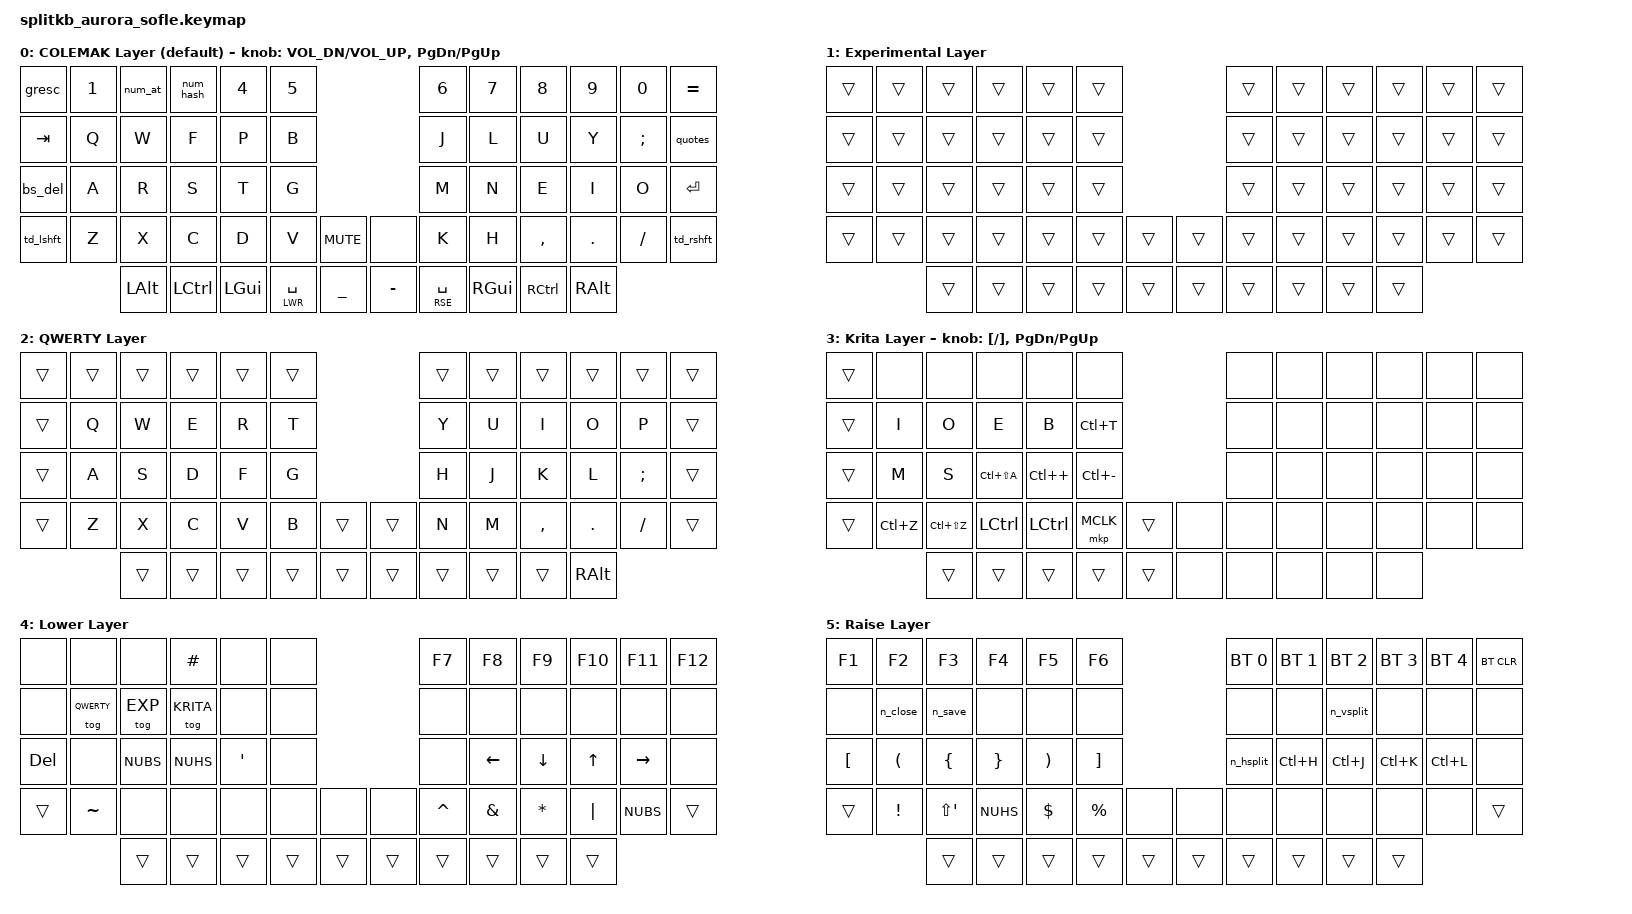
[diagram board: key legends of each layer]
/*
 * Copyright (c) 2023 The ZMK Contributors
 *
 * SPDX-License-Identifier: MIT
 */

#include <behaviors.dtsi>
#include <dt-bindings/zmk/keys.h>
#include <dt-bindings/zmk/bt.h>
#include <dt-bindings/zmk/ext_power.h>
#include <dt-bindings/zmk/pointing.h>

/* Layer definitions */
#define EXP 1
#define QWERTY 2
#define KRITA 3
#define LWR  4
#define RSE  5

#define XXX &none
#define ___ &trans

#define SPC_LWR &lt LWR SPACE
#define SPC_RSE &lt RSE SPACE

&lt {
    flavor = "balanced";
    tapping-term-ms = <190>; /* time until a pressed key is considered a hold */
    quick-tap-ms = <175>; /* repeats within this time will always yield a tap */
    //require-prior-idle-ms = <150>; /* always yield a tap if the last keypress was under this time */
};

/* Krita keybinds */
#define PICKER &kp LCTRL
#define ERASER &kp E
#define BRUSH &kp B
#define TRNSFRM &kp LC(T)
#define DESELECT &kp LC(LS(A))
#define LASSO &kp S
#define OPAC_UP &kp O
#define OPAC_DWN &kp I
#define MIRROR &kp M
#define KR_UNDO &kp LC(Z)
#define KR_REDO &kp LC(LS(Z))
#define ZOOM_IN &kp LC(PLUS)
#define ZOOM_OUT &kp LC(MINUS)
#define ROTATE &kp LCTRL
#define PAN &mkp MCLK

/* Bluetooth profile selectors */
#define BT_1 &bt BT_SEL 0
#define BT_2 &bt BT_SEL 1
#define BT_3 &bt BT_SEL 2
#define BT_4 &bt BT_SEL 3
#define BT_5 &bt BT_SEL 4

/ {
    behaviors {
        n_save: n_save {
            compatible = "zmk,behavior-macro";
            #binding-cells = <0>;
            bindings = <&kp COLON>, <&kp W>, <&kp RET>;
        };
        n_close: n_close {
            compatible = "zmk,behavior-macro";
            #binding-cells = <0>;
            bindings = <&kp COLON>, <&kp Q>, <&kp RET>;
        };
        n_hsplit: n_hsplit {
            compatible = "zmk,behavior-macro";
            #binding-cells = <0>;
            bindings = <&kp COLON>, <&kp S>, <&kp P>, <&kp RET>;
        };
        n_vsplit: n_vsplit {
            compatible = "zmk,behavior-macro";
            #binding-cells = <0>;
            bindings = <&kp COLON>, <&kp V>, <&kp S>, <&kp P>, <&kp RET>;
        };
        td_lshft: tap_dance_lshft {
            compatible = "zmk,behavior-tap-dance";
            #binding-cells = <0>;
            tapping-term-ms = <200>;
            bindings = <&kp LSHFT>, <&kp CAPS>;
        };
        td_rshft: tap_dance_rshft {
            compatible = "zmk,behavior-tap-dance";
            #binding-cells = <0>;
            tapping-term-ms = <200>;
            bindings = <&kp RSHFT>, <&kp CAPS>;
        };
        bs_del: backspace_del {
            compatible = "zmk,behavior-mod-morph";
            #binding-cells = <0>;
            bindings = <&kp BACKSPACE>, <&kp DELETE>;
            mods = <(MOD_LSFT|MOD_RSFT)>;
        };
        quotes: combined_quotes {
            compatible = "zmk,behavior-mod-morph";
            #binding-cells = <0>;
            bindings = <&kp SINGLE_QUOTE>, <&kp N2>;
            mods = <(MOD_LSFT|MOD_RSFT)>;
            keep-mods = <(MOD_LSFT|MOD_RSFT)>;
        };
        num_at: number_line_at {
            compatible = "zmk,behavior-mod-morph";
            #binding-cells = <0>;
            bindings = <&kp N2>, <&kp SINGLE_QUOTE>;
            mods = <(MOD_LSFT|MOD_RSFT)>;
            keep-mods = <(MOD_LSFT|MOD_RSFT)>;
        };
        num_hash: number_line_hash {
            compatible = "zmk,behavior-mod-morph";
            #binding-cells = <0>;
            bindings = <&kp N3>, <&kp NUHS>;
            mods = <(MOD_LSFT|MOD_RSFT)>;
        };
    };
};

/ {
    keymap {
        compatible = "zmk,keymap";

        default_layer {
            display-name = "COLEMAK Layer (default)";
            bindings = <
//+---------|---------|---------|---------|---------|---------+                   +---------|---------|---------|---------|---------|---------+
    &gresc    &kp N1    &num_at  &num_hash  &kp N4    &kp N5                        &kp N6    &kp N7    &kp N8    &kp N9    &kp N0   &kp EQUAL
//|---------|---------|---------|---------|---------|---------|                   |---------|---------|---------|---------|---------|---------|
    &kp TAB    &kp Q     &kp W     &kp F     &kp P     &kp B                         &kp J     &kp L     &kp U     &kp Y   &kp SEMI   &quotes
//|---------|---------|---------|---------|---------|---------|                   |---------|---------|---------|---------|---------|---------|
    &bs_del    &kp A     &kp R     &kp S     &kp T     &kp G                         &kp M     &kp N     &kp E     &kp I     &kp O    &kp RET
//|---------|---------|---------|---------|---------|---------|---------+---------|---------|---------|---------|---------|---------|---------|
   &td_lshft   &kp Z     &kp X     &kp C     &kp D     &kp V  &kp C_MUTE    XXX      &kp K     &kp H   &kp COMMA  &kp DOT  &kp FSLH  &td_rshft
//+---------|---------|---------|---------|---------|---------|---------|---------|---------|---------|---------|---------|---------|---------+
                       &kp LALT  &kp LCTRL &kp LGUI   SPC_LWR  &kp UNDER &kp MINUS  SPC_RSE  &kp RGUI  &kp RCTRL &kp RALT
//                    +---------|---------|---------|---------|---------+---------|---------|---------|---------|---------+
            >;
            sensor-bindings = <&inc_dec_kp C_VOL_DN C_VOL_UP &inc_dec_kp PG_DN PG_UP>;
        };

        experimental_layer {
            display-name = "Experimental Layer";
            bindings = <
//+---------|---------|---------|---------|---------|---------+                   +---------|---------|---------|---------|---------|---------+
      ___       ___       ___       ___       ___       ___                           ___       ___       ___       ___       ___       ___
//|---------|---------|---------|---------|---------|---------|                   |---------|---------|---------|---------|---------|---------|
      ___       ___       ___       ___       ___       ___                           ___       ___       ___       ___       ___       ___
//|---------|---------|---------|---------|---------|---------|                   |---------|---------|---------|---------|---------|---------|
      ___       ___       ___       ___       ___       ___                           ___       ___       ___       ___       ___       ___
//|---------|---------|---------|---------|---------|---------|---------+---------|---------|---------|---------|---------|---------|---------|
      ___       ___       ___       ___       ___       ___       ___       ___       ___       ___       ___       ___       ___       ___
//+---------|---------|---------|---------|---------|---------|---------|---------|---------|---------|---------|---------|---------|---------+
                          ___       ___       ___       ___       ___       ___       ___       ___       ___       ___
//                    +---------|---------|---------|---------|---------+---------|---------|---------|---------|---------+
            >;
        };

        qwerty_layer {
            display-name = "QWERTY Layer";
            bindings = <
//+---------|---------|---------|---------|---------|---------+                   +---------|---------|---------|---------|---------|---------+
      ___       ___       ___       ___       ___       ___                           ___       ___       ___       ___       ___       ___
//|---------|---------|---------|---------|---------|---------|                   |---------|---------|---------|---------|---------|---------|
      ___      &kp Q     &kp W     &kp E     &kp R     &kp T                         &kp Y     &kp U     &kp I     &kp O     &kp P     ___
//|---------|---------|---------|---------|---------|---------|                   |---------|---------|---------|---------|---------|---------|
      ___      &kp A     &kp S     &kp D     &kp F     &kp G                         &kp H     &kp J     &kp K     &kp L   &kp SEMI    ___
//|---------|---------|---------|---------|---------|---------|---------+---------|---------|---------|---------|---------|---------|---------|
      ___      &kp Z     &kp X     &kp C     &kp V     &kp B      ___       ___      &kp N     &kp M   &kp COMMA  &kp DOT  &kp FSLH    ___
//+---------|---------|---------|---------|---------|---------|---------|---------|---------|---------|---------|---------|---------|---------+
                          ___       ___       ___       ___       ___       ___       ___       ___       ___    &kp RALT
//                    +---------|---------|---------|---------|---------+---------|---------|---------|---------|---------+
            >;
        };

        krita_layer {
            display-name = "Krita Layer";
            bindings = <
//+---------|---------|---------|---------|---------|---------+                   +---------|---------|---------|---------|---------|---------+
      ___       XXX       XXX       XXX       XXX       XXX                           XXX       XXX       XXX       XXX       XXX       XXX
//|---------|---------|---------|---------|---------|---------|                   |---------|---------|---------|---------|---------|---------|
      ___    OPAC_DWN   OPAC_UP   ERASER     BRUSH    TRNSFRM                         XXX       XXX       XXX       XXX       XXX       XXX
//|---------|---------|---------|---------|---------|---------|                   |---------|---------|---------|---------|---------|---------|
      ___     MIRROR     LASSO   DESELECT   ZOOM_IN  ZOOM_OUT                         XXX       XXX       XXX       XXX       XXX       XXX
//|---------|---------|---------|---------|---------|---------|---------+---------|---------|---------|---------|---------|---------|---------|
      ___     KR_UNDO   KR_REDO   PICKER    ROTATE      PAN       ___       XXX       XXX       XXX       XXX       XXX       XXX       XXX
//+---------|---------|---------|---------|---------|---------|---------|---------|---------|---------|---------|---------|---------|---------+
                          ___       ___       ___       ___       ___       XXX       XXX       XXX       XXX       XXX
//                    +---------|---------|---------|---------|---------+---------|---------|---------|---------|---------+
            >;
            sensor-bindings = <&inc_dec_kp LBKT RBKT &inc_dec_kp PG_DN PG_UP>;
        };

        lower_layer {
            display-name = "Lower Layer";
            bindings = <
//+---------|---------|---------|---------|---------|---------+                   +---------|---------|---------|---------|---------|---------+
      XXX       XXX       XXX    &kp HASH     XXX       XXX                          &kp F7    &kp F8    &kp F9   &kp F10   &kp F11   &kp F12
//|---------|---------|---------|---------|---------|---------|                   |---------|---------|---------|---------|---------|---------|
      XXX   &tog QWERTY &tog EXP &tog KRITA   XXX       XXX                           XXX       XXX       XXX       XXX       XXX       XXX
//|---------|---------|---------|---------|---------|---------|                   |---------|---------|---------|---------|---------|---------|
    &kp DEL     XXX    &kp NUBS  &kp NUHS  &kp APOS     XXX                           XXX    &kp LEFT  &kp DOWN   &kp UP   &kp RIGHT    XXX
//|---------|---------|---------|---------|---------|---------|---------+---------|---------|---------|---------|---------|---------|---------|
      ___    &kp TILDE    XXX       XXX       XXX       XXX       XXX       XXX    &kp CARET &kp AMPS  &kp STAR  &kp PIPE  &kp NUBS     ___
//+---------|---------|---------|---------|---------|---------|---------|---------|---------|---------|---------|---------|---------|---------+
                          ___       ___       ___       ___       ___       ___       ___       ___       ___       ___
//                    +---------|---------|---------|---------|---------+---------|---------|---------|---------|---------+
            >;
        };

        raise_layer {
            display-name = "Raise Layer";
            bindings = <
//+---------|---------|---------|---------|---------|---------+                   +---------|---------|---------|---------|---------|---------+
    &kp F1    &kp F2    &kp F3    &kp F4    &kp F5    &kp F6                         BT_1      BT_2      BT_3      BT_4      BT_5   &bt BT_CLR
//|---------|---------|---------|---------|---------|---------|                   |---------|---------|---------|---------|---------|---------|
      XXX    &n_close   &n_save     XXX       XXX       XXX                           XXX       XXX    &n_vsplit    XXX       XXX       XXX
//|---------|---------|---------|---------|---------|---------|                   |---------|---------|---------|---------|---------|---------|
   &kp LBKT  &kp LPAR  &kp LBRC  &kp RBRC  &kp RPAR  &kp RBKT                      &n_hsplit &kp LC(H) &kp LC(J) &kp LC(K) &kp LC(L)    XXX
//|---------|---------|---------|---------|---------|---------|---------+---------|---------|---------|---------|---------|---------|---------|
      ___    &kp EXCL &kp LS(SQT) &kp NUHS &kp DLLR  &kp PRCNT    XXX       XXX       XXX       XXX       XXX       XXX       XXX       ___
//+---------|---------|---------|---------|---------|---------|---------|---------|---------|---------|---------|---------|---------|---------+
                          ___       ___       ___       ___       ___       ___       ___       ___       ___       ___
//                    +---------|---------|---------|---------|---------+---------|---------|---------|---------|---------+
            >;
        };
    };
};
